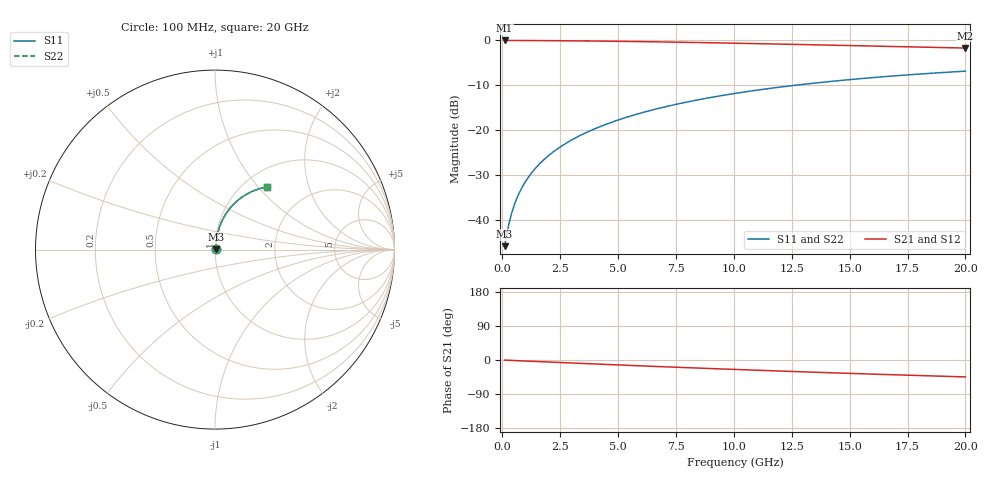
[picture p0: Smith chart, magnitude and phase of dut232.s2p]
! Touchstone file exported from HFSS 2024.1.0
!  File:  C:/UserFiles/LocalFiles/RDL_TSV_Batchsim/temp_RDL_top_232_1778688164.aedt
!  Generated:  12:04:51 AM May 14, 2026
!  Design:  RDL_top
!  Project:  temp_RDL_top_232_1778688164
!  Setup:  Setup1
!  Solution:  Sweep
! Variables:
!  dtsv = 10.80580581um
!  hbump = 3um
!  htsv = 68.88um
!  ldown = 100um
!  lrdl = 598.61um
!  p = 40
!  p1 = 50.2um
!  rhole = 1um
!  t = 450um
!  tdown = 3.915915916um
!  trdl = 3.09um
!  wdown = 15.38538539um
!  wrdl = 16.63um
# GHz S MA R 50.000000
! Terminal data exported
! Port[1] = Box2_T1
! Port[2] = Box2_T2
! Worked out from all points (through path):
!   200 points, 100 MHz to 20 GHz, reference 50 ohm
!   highest |S21| = -0.04 dB at 100 MHz (marker M1); lowest = -1.7 dB at 20 GHz (marker M2)
!   group delay of S21, straight-line fit = 6.19 ps
!   lowest |S11| = -45.9 dB at 100 MHz (marker M3), VSWR 1.01, Z = 50.4 + j0.276 ohm
!   |S11| at or under -10 dB: start of sweep to 12.69 GHz
!   |S22| runs from -45.9 to -6.9 dB; largest |S21 - S12| = 2.3e-15
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0.1  0.005072 32.6  0.9957 -0.3  0.9957 -0.3  0.005072 32.6
! Gamma 0 0 0 0
! Port Impedance 50 0 50 0
0.2  0.006986 51.1  0.9956 -0.6  0.9956 -0.6  0.006986 51.1
0.3  0.009281 60.7  0.9954 -0.8  0.9954 -0.8  0.009281 60.7
0.4  0.0117 66.2  0.9953 -1.1  0.9953 -1.1  0.0117 66.2
0.5  0.01415 69.7  0.9951 -1.4  0.9951 -1.4  0.01415 69.7
0.6  0.01662 72.2  0.9949 -1.6  0.9949 -1.6  0.01662 72.2
0.8  0.02158 75.4  0.9945 -2.2  0.9945 -2.2  0.02158 75.4
1.1  0.02909 78.1  0.9938 -3.0  0.9938 -3.0  0.02909 78.1
1.3  0.03412 79.1  0.9934 -3.5  0.9934 -3.5  0.03412 79.1
1.6  0.04172 80.1  0.9926 -4.3  0.9926 -4.3  0.04172 80.1
2.1  0.05445 80.8  0.9909 -5.6  0.9909 -5.6  0.05445 80.8
2.7  0.06983 80.9  0.9884 -7.2  0.9884 -7.2  0.06983 80.9
3.5  0.09043 80.4  0.9843 -9.2  0.9843 -9.2  0.09043 80.4
4.2  0.1085 79.6  0.9801 -11.0  0.9801 -11.0  0.1085 79.6
5  0.1292 78.5  0.9745 -13.0  0.9745 -13.0  0.1292 78.5
5.9  0.1524 77.1  0.9674 -15.3  0.9674 -15.3  0.1524 77.1
6.8  0.1754 75.5  0.9597 -17.5  0.9597 -17.5  0.1754 75.5
8.4  0.2157 72.4  0.9447 -21.2  0.9447 -21.2  0.2157 72.4
10.1  0.2571 69.1  0.9274 -25.1  0.9274 -25.1  0.2571 69.1
13.4  0.3315 62.5  0.8917 -32.1  0.8917 -32.1  0.3315 62.5
16.7  0.3969 56.2  0.8551 -38.6  0.8551 -38.6  0.3969 56.2
20  0.4529 50.3  0.8191 -44.6  0.8191 -44.6  0.4529 50.3
